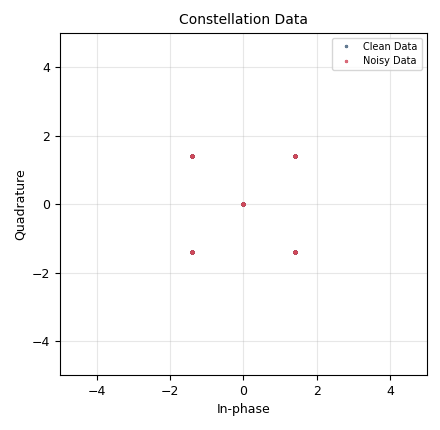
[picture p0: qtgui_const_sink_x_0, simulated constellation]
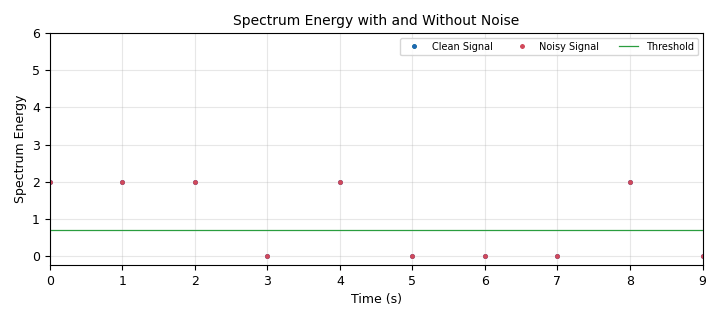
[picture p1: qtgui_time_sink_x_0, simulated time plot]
options:
  parameters:
    author: oshears
    generate_options: qt_gui
    id: test
    output_language: python
    title: Not titled yet
  states: {}

blocks:
- name: noise_level
  id: variable_qtgui_range
  parameters:
    comment: Noise Level Slider
    gui_hint: 0,0
    label: Noise Level
    start: '0'
    step: '0.01'
    stop: '5'
    value: '0'
  states: {}
- name: qpsk_constellation
  id: variable_constellation
  parameters:
    comment: QPSK Constellation
    const_points: '[-1-1j, -1+1j, 1+1j, 1-1j, 0,0,0,0]'
    dims: '1'
    normalization: digital.constellation.AMPLITUDE_NORMALIZATION
    precision: '8'
    rot_sym: '4'
    sym_map: '[0, 1, 3, 2, 4,5,6,7]'
    type: calcdist
  states: {}
- name: samp_rate
  id: variable
  parameters:
    value: '1'
  states: {}
- name: analog_const_source_x_0
  id: analog_const_source_x
  parameters:
    comment: Draw Threshold on the Time Sink
    const: '0.705'
    type: float
  states: {}
- name: analog_noise_source_x_0
  id: analog_noise_source_x
  parameters:
    amp: noise_level
    comment: Additive White Gaussian Noise (AWGN)
    noise_type: analog.GR_GAUSSIAN
    seed: '0'
    type: complex
  states: {}
- name: analog_random_source_x_0
  id: analog_random_source_x
  parameters:
    comment: 50/50 Chance of Data Transmission
    max: '8'
    min: '0'
    num_samps: '1000'
    repeat: 'True'
    type: byte
  states: {}
- name: blocks_add_xx_0
  id: blocks_add_xx
  parameters:
    comment: Add AWGN to Data Data
    type: complex
  states: {}
- name: digital_constellation_encoder_bc_1
  id: digital_constellation_encoder_bc
  parameters:
    comment: QPSK Modulator
    constellation: qpsk_constellation
  states: {}
- name: epy_block_0
  id: epy_block
  parameters:
    Feedback_Scale: '0.4'
    Input_Gain: '0.5'
    Mask_Max: '0.5'
    Mask_Min: '-0.5'
    Mask_Type: '''Uniform'''
    Random_Seed: '0'
    Virtual_Nodes: '50'
    _source_code: |
      """
      Embedded Python Blocks:

      Each time this file is saved, GRC will instantiate the first class it finds
      to get ports and parameters of your block. The arguments to __init__  will
      be the parameters. All of them are required to have default values!
      """

      import numpy as np
      from gnuradio import gr


      class blk(gr.sync_block):  # other base classes are basic_block, decim_block, interp_block
          """DFR Block - Perform DFR Inference"""

          def __init__(self, Virtual_Nodes=50,Input_Gain=0.5,Feedback_Scale=0.4,Random_Seed=0,Mask_Min=-0.5,Mask_Max=0.5,Mask_Type="Uniform"):  # only default arguments here
              """arguments to this function show up as parameters in GRC"""
              gr.sync_block.__init__(
                  self,
                  name='DFR Block',   # will show up in GRC
                  in_sig=[np.complex64],
                  out_sig=[np.float32]
              )
              # if an attribute with the same name as a parameter is found,
              # a callback is registered (properties work, too).
              print("Configuring DFR")
              self.Virtual_Nodes = Virtual_Nodes
              self.seed = Random_Seed
              self.rng = np.random.default_rng(Random_Seed)
              self.N = Virtual_Nodes
              self.gamma = Input_Gain
              self.eta = Feedback_Scale
              self.LAST_NODE = self.N - 1
              self.reg = 1e-8
              self.reservoir = np.zeros(self.N)
              self.mask = self.rng.uniform(Mask_Min,Mask_Max,self.N)

              # self.W = np.array([-589.4317283630371,
              #             -38.58226776123047,
              #             946.5737419128418,
              #             -979.8047285079956,
              #             -283.7571544647217,
              #             -559.7401161193848,
              #             2737.4940071105957,
              #             -314.8955874443054,
              #             968.3470306396484,
              #             7.468153893947601,
              #             -1662.0237102508545,
              #             229.55740356445312,
              #             -264.89648628234863,
              #             -0.3798371705415775,
              #             -1349.5411758422852,
              #             -1.4192554373876192,
              #             323.34349060058594,
              #             -286.4024085998535,
              #             1281.8496704101562,
              #             1125.2301445007324,
              #             -818.563850402832,
              #             577.280143737793,
              #             185.4799575805664,
              #             -33.83775329589844,
              #             1772.1830215454102,
              #             -1941.3939666748047,
              #             140.7281723022461,
              #             -2284.337860107422,
              #             -144.74640655517578,
              #             -231.86016082763672,
              #             -11.057226657867432,
              #             -2388.1128540039062,
              #             26.346128640696406,
              #             275.4407157897949,
              #             438.04361724853516,
              #             -944.2057266235352,
              #             94.12022018432617,
              #             170.9260711669922,
              #             10.226631164550781,
              #             64.93780899047852,
              #             199.9371795654297,
              #             -28.379258958622813,
              #             -922.4196128845215,
              #             2259.5208444595337,
              #             -75.7298812866211,
              #             272.80241775512695,
              #             61.395785331726074,
              #             481.0991744995117,
              #             1018.62744140625,
              #             2909.0243225097656])

              self.W = np.array([120.42606216296554,
              -1807.49984228611,
              -190.55212783813477,
              -0.615568204819283,
              -149.43982706591487,
              514.6231700181961,
              -10.249961536377668,
              290.1148624420166,
              -0.5264376669074409,
              -725.5037930011749,
              -831.6801414489746,
              -339.5465271882713,
              144.37274353858083,
              1.0204199978907127,
              -5.118039094028063,
              4.713473149866331,
              0.02879478414888581,
              1528.663986235857,
              13.79443645477295,
              -6.624879090115428,
              15.946529388427734,
              1.5773625312140211,
              -1667.9709073752165,
              805.8867005854845,
              -665.5140290260315,
              609.862033367157,
              -308.93261909484863,
              -3.5253487057052553,
              -3.9527146809268743,
              -1370.994578436017,
              -802.4010653495789,
              0.9759305065890658,
              -341.6779537200928,
              1999.2160191759467,
              190.90797265712172,
              -52.18394413590431,
              -1709.122000157833,
              -518.0853526778519,
              -875.7170631848276,
              289.6419845058117,
              -881.5920621305704,
              384.23498380184174,
              39.59513200819492,
              -790.314578294754,
              -1240.1787865236402,
              -183.90678156376816,
              2695.083712786436,
              -251.39458788186312,
              -12.07303048192989,
              -714.8613681793213])

              

          def work(self, input_items, output_items):
              """example: multiply with constant"""
              # output_items[0][:] = input_items[0] * self.multiply_const
              # print(input_items[0])

              # ADC_MAX_SIGNED = 2**11


              NUM_SAMPLES = len(input_items[0])


              i_data = np.real(input_items[0])
              q_data = np.imag(input_items[0])

              x = np.sqrt(np.power(i_data,2) + np.power(q_data,2))

              # mask generation
              masked_samples = np.empty((NUM_SAMPLES,self.N))
              for i in range(NUM_SAMPLES):
                  masked_samples[i] = self.mask * x[i]

              

              reservoir_history = np.zeros((NUM_SAMPLES,self.N))
              for i in range(NUM_SAMPLES):
                  for j in range(self.N):

                      g_i = self.mg(self.gamma * masked_samples[i][j] + self.eta * self.reservoir[self.LAST_NODE])
                      self.reservoir[1:self.N] = self.reservoir[0:self.LAST_NODE]
                      self.reservoir[0] = g_i

                  reservoir_history[i] = self.reservoir


              # y = reservoir_history.dot(self.W)
              y = reservoir_history.dot(self.W)
              y_bin = y.copy()
              y_bin[y_bin >= 0.5] = 1
              y_bin[y_bin < 0.5] = 0

              output_items[0][:] = y_bin

              return len(output_items[0])

          def mg(self,x):
              a = 2
              b = 0.8
              c = 0.2
              d = 2.1
              p = 10

              return (a * x) / (b + c * np.power( (d * x), p) )
    comment: Delayed Feedback Reservoir Block
  states: {state: disabled}
- name: epy_block_1_0
  id: epy_block
  parameters:
    _source_code: "\"\"\"\nEmbedded Python Blocks:\n\nEach time this file is saved, GRC will instantiate the first class it finds\nto get ports and parameters of your block. The arguments to __init__  will\nbe the parameters. All of them are required to have default values!\n\"\"\"\n\nimport numpy as np\nfrom gnuradio import gr\n\n\nclass blk(gr.sync_block):  # other base classes are basic_block, decim_block, interp_block\n    \"\"\"Spectrum Energy - Record Spectrum Energy\"\"\"\n\n    def __init__(self):  # only default arguments here\n        \"\"\"arguments to this function show up as parameters in GRC\"\"\"\n        gr.sync_block.__init__(\n            self,\n            name='Spectrum Energy Block',   # will show up in GRC\n            in_sig=[np.complex64],\n            out_sig=[np.float32]\n        )\n        \n\n        \n\n    def work(self, input_items, output_items):\n        \"\"\"example: multiply with constant\"\"\"\n\n        i_data_norm = np.real(input_items[0])\n        q_data_norm = np.imag(input_items[0])\n        x = np.sqrt(np.power(i_data_norm,2) + np.power(q_data_norm,2))\n        output_items[0][:] = x\n\n        return len(output_items[0])\n\n"
    comment: Calculate Spectrum Energy for Clean Sample
  states: {}
- name: epy_block_1_0_0
  id: epy_block
  parameters:
    _source_code: "\"\"\"\nEmbedded Python Blocks:\n\nEach time this file is saved, GRC will instantiate the first class it finds\nto get ports and parameters of your block. The arguments to __init__  will\nbe the parameters. All of them are required to have default values!\n\"\"\"\n\nimport numpy as np\nfrom gnuradio import gr\n\n\nclass blk(gr.sync_block):  # other base classes are basic_block, decim_block, interp_block\n    \"\"\"Spectrum Energy - Record Spectrum Energy\"\"\"\n\n    def __init__(self):  # only default arguments here\n        \"\"\"arguments to this function show up as parameters in GRC\"\"\"\n        gr.sync_block.__init__(\n            self,\n            name='Spectrum Energy Block',   # will show up in GRC\n            in_sig=[np.complex64],\n            out_sig=[np.float32]\n        )\n        \n\n        \n\n    def work(self, input_items, output_items):\n        \"\"\"example: multiply with constant\"\"\"\n\n        i_data_norm = np.real(input_items[0])\n        q_data_norm = np.imag(input_items[0])\n        x = np.sqrt(np.power(i_data_norm,2) + np.power(q_data_norm,2))\n        output_items[0][:] = x\n\n        return len(output_items[0])\n\n"
    comment: Calculate Spectrum Energy for Clean Sample
  states: {}
- name: qtgui_const_sink_x_0
  id: qtgui_const_sink_x
  parameters:
    comment: Display Constellation Data
    gui_hint: 1,0
    label1: Clean Data
    label2: Noisy Data
    marker2: '2'
    name: Constellation Data
    nconnections: '2'
    size: '1024'
    type: complex
    update_time: '0.1'
    xmax: '5'
    xmin: '-5'
    ymax: '5'
    ymin: '-5'
  states: {}
- name: qtgui_time_sink_x_0
  id: qtgui_time_sink_x
  parameters:
    comment: Display Spectrum Energy Before and After Noise
    label1: Clean Signal
    label2: Noisy Signal
    label3: Threshold
    marker1: '0'
    marker2: '2'
    name: Spectrum Energy with and Without Noise
    nconnections: '3'
    size: '10'
    srate: samp_rate
    style1: '0'
    style2: '0'
    style3: '2'
    type: float
    update_time: '0.1'
    width1: '3'
    width2: '3'
    width3: '3'
    ylabel: Spectrum Energy
    ymax: '6'
    ymin: '0'
  states: {}

connections:
- [analog_const_source_x_0, '0', qtgui_time_sink_x_0, '2']
- [analog_noise_source_x_0, '0', blocks_add_xx_0, '1']
- [analog_random_source_x_0, '0', digital_constellation_encoder_bc_1, '0']
- [blocks_add_xx_0, '0', epy_block_0, '0']
- [blocks_add_xx_0, '0', epy_block_1_0_0, '0']
- [blocks_add_xx_0, '0', qtgui_const_sink_x_0, '1']
- [digital_constellation_encoder_bc_1, '0', blocks_add_xx_0, '0']
- [digital_constellation_encoder_bc_1, '0', epy_block_1_0, '0']
- [digital_constellation_encoder_bc_1, '0', qtgui_const_sink_x_0, '0']
- [epy_block_0, '0', qtgui_time_sink_x_0, '1']
- [epy_block_1_0, '0', qtgui_time_sink_x_0, '0']
- [epy_block_1_0_0, '0', qtgui_time_sink_x_0, '1']

metadata:
  file_format: 1
